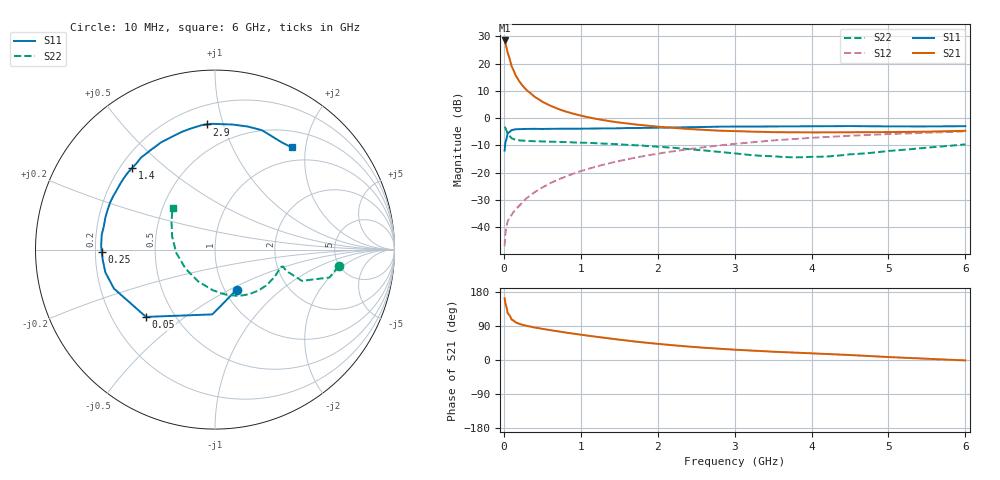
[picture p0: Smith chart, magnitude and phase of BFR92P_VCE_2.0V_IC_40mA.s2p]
! Infineon Technologies  Discrete & RF Semiconductors
! BFR92P
! VCE =  2.0 V,  IC =  40 mA
! Common Emitter S-Parameters:  Apr 2014
# GHz  S  MA  R  50
!  f  S11  S21  S12  S22
! GHz  MAG  ANG  MAG  ANG  MAG  ANG  MAG  ANG
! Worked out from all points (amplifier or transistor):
!   77 points, 10 MHz to 6 GHz, reference 50 ohm
!   highest |S21| = 28.5 dB at 10 MHz (marker M1)
!   |S21| within 3 dB of that: start of sweep to 37.48 MHz
!   unconditionally stable (mu >= 1): start of sweep to end of sweep
!   at 130 MHz: K = 1.67, MAG = 21.0 dB, |S12| = -34.3 dB
!   at 2.2 GHz: K = 1.50, MAG = 0.1 dB, |S12| = -12.2 dB
!   at 6 GHz: K = 1.06, MAG = -1.4 dB, |S12| = -4.9 dB
!   S11 on the Smith chart (normalised r, x): 10 MHz: 1.14, -0.54; 50 MHz: 0.35, -0.36; 250 MHz: 0.23, -0.01; 1.4 GHz: 0.25, +0.39; 2.9 GHz: 0.32, +0.88; 6 GHz: 0.75, +1.74
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0.01  0.2537 -61.7  26.49 162.8  0.0045 68.7  0.6946 -7.6
0.02  0.3612 -92.3  24.16 149.6  0.0075 64.1  0.6567 -13.7
0.05  0.537 -135.7  15.74 123.5  0.0129 50.5  0.5144 -19.8
0.1  0.6034 -158.9  8.976 106.9  0.0168 53.3  0.4272 -17.1
0.15  0.6239 -168.3  6.221 99.9  0.021 57.4  0.4014 -15.4
0.2  0.6279 -174.5  4.736 95.4  0.0247 62.4  0.391 -13.9
0.25  0.631 -178.7  3.827 92.5  0.0295 65.9  0.3865 -14.5
0.3  0.6345 178.3  3.219 89.9  0.0344 67.3  0.3818 -14.5
0.4  0.6366 172.6  2.458 85.8  0.0437 71.0  0.377 -16.0
0.5  0.6327 167.9  1.999 82.2  0.0535 73.4  0.3736 -18.0
0.6  0.6365 163.7  1.7 78.9  0.0639 74.2  0.3702 -20.2
0.7  0.638 159.8  1.486 75.8  0.074 74.6  0.3674 -22.5
0.9  0.6404 152.0  1.209 69.6  0.0954 74.4  0.3588 -27.8
1.1  0.6427 145.2  1.033 64.0  0.1178 73.5  0.3521 -33.0
1.4  0.648 135.2  0.869 56.2  0.152 71.2  0.3365 -41.0
2.1  0.6699 113.9  0.68 40.8  0.2345 62.8  0.2925 -61.0
2.9  0.6987 93.8  0.583 28.5  0.3261 51.5  0.2329 -88.5
3.1  0.7 89.7  0.573 26.2  0.3471 48.3  0.2183 -97.6
3.7  0.7048 79.3  0.55 20.2  0.4076 39.2  0.1922 -129.5
4.1  0.7098 73.9  0.547 16.7  0.4433 33.5  0.1957 -153.2
5.1  0.7049 61.7  0.557 6.9  0.5151 19.3  0.256 159.4
6  0.7116 53.2  0.585 -1.1  0.5708 7.1  0.3296 135.9
